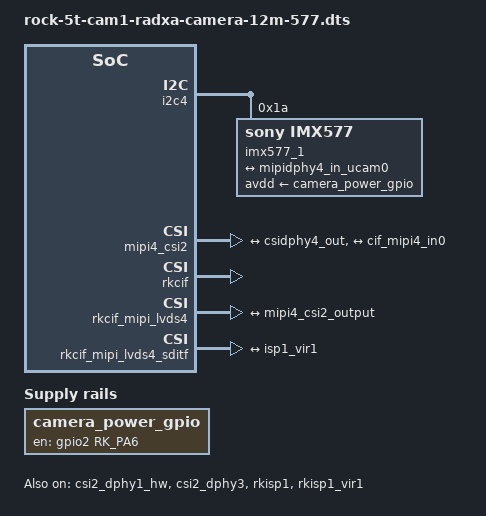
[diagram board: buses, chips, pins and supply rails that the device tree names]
/dts-v1/;
/plugin/;

#include <dt-bindings/power/rk3588-power.h>
#include <dt-bindings/gpio/gpio.h>
#include <dt-bindings/pinctrl/rockchip.h>

/ {
	metadata {
		title = "Enable Radxa Camera 12M 577 on CAM1";
		compatible = "radxa,rock-5t";
		category = "camera";
		exclusive = "GPIO2_A6", "csi2_dphy1", "i2c4";
		description = "Enable Radxa Camera 12M 577 on CAM1.";
	};
};

&{/} {
	camera_power_gpio: camera-power-gpio {
		compatible = "regulator-fixed";
		regulator-name = "camera_power_gpio";
		startup-delay-us = <250000>;
		off-on-delay-us = <20000>;
		enable-active-high;
		gpio = <&gpio2 RK_PA6 GPIO_ACTIVE_HIGH>;
		pinctrl-names = "default";
		pinctrl-0 = <&cam_power_gpio>;
	};
};

&i2c4 {
	status = "okay";
	pinctrl-names = "default";
	pinctrl-0 = <&i2c4m1_xfer>;
	#address-cells = <1>;
	#size-cells = <0>;

	imx577_1: imx577@1a {
		status = "okay";
		compatible = "sony,imx577";
		reg = <0x1a>;
		power-domains = <&power RK3588_PD_VI>;
		avdd-supply = <&camera_power_gpio>;
		rockchip,camera-module-index = <1>;
		rockchip,camera-module-facing = "back";
		rockchip,camera-module-name = "RADXA-CAMERA-12M";
		rockchip,camera-module-lens-name = "default";
		port {
			imx577_out4: endpoint {
				remote-endpoint = <&mipidphy4_in_ucam0>;
				data-lanes = <1 2 3 4>;
			};
		};
	};
};

&csi2_dphy1_hw {
	status = "okay";
};

&csi2_dphy3 {
	status = "okay";

	ports {
		#address-cells = <1>;
		#size-cells = <0>;

		port@0 {
			reg = <0>;
			#address-cells = <1>;
			#size-cells = <0>;

			mipidphy4_in_ucam0: endpoint@1 {
				reg = <1>;
				remote-endpoint = <&imx577_out4>;
				data-lanes = <1 2 3 4>;
			};
		};

		port@1 {
			reg = <1>;
			#address-cells = <1>;
			#size-cells = <0>;

			csidphy4_out: endpoint@0 {
				reg = <0>;
				remote-endpoint = <&mipi4_csi2_input>;
			};
		};
	};
};

&mipi4_csi2 {
	status = "okay";

	ports {
		#address-cells = <1>;
		#size-cells = <0>;

		port@0 {
			reg = <0>;
			#address-cells = <1>;
			#size-cells = <0>;

			mipi4_csi2_input: endpoint@1 {
				reg = <1>;
				remote-endpoint = <&csidphy4_out>;
			};
		};

		port@1 {
			reg = <1>;
			#address-cells = <1>;
			#size-cells = <0>;

			mipi4_csi2_output: endpoint@0 {
				reg = <0>;
				remote-endpoint = <&cif_mipi4_in0>;
			};
		};
	};
};

&rkcif {
	status = "okay";
};

&rkcif_mipi_lvds4 {
	status = "okay";

	port {
		cif_mipi4_in0: endpoint {
			remote-endpoint = <&mipi4_csi2_output>;
		};
	};
};

&rkcif_mipi_lvds4_sditf {
	status = "okay";

	port {
		mipi_lvds4_sditf: endpoint {
			remote-endpoint = <&isp1_vir1>;
		};
	};
};

&rkcif_mmu {
	status = "okay";
};

&isp1_mmu {
	status = "okay";
};

&rkisp1 {
	status = "okay";
};

&rkisp1_vir1 {
	status = "okay";

	port {
		#address-cells = <1>;
		#size-cells = <0>;

		isp1_vir1: endpoint@0 {
			reg = <0>;
			remote-endpoint = <&mipi_lvds4_sditf>;
		};
	};
};

&pinctrl {
	camera {
		cam_power_gpio: cam-power-gpio {
			rockchip,pins = <2 RK_PA6 RK_FUNC_GPIO &pcfg_pull_up>;
		};
	};
};
